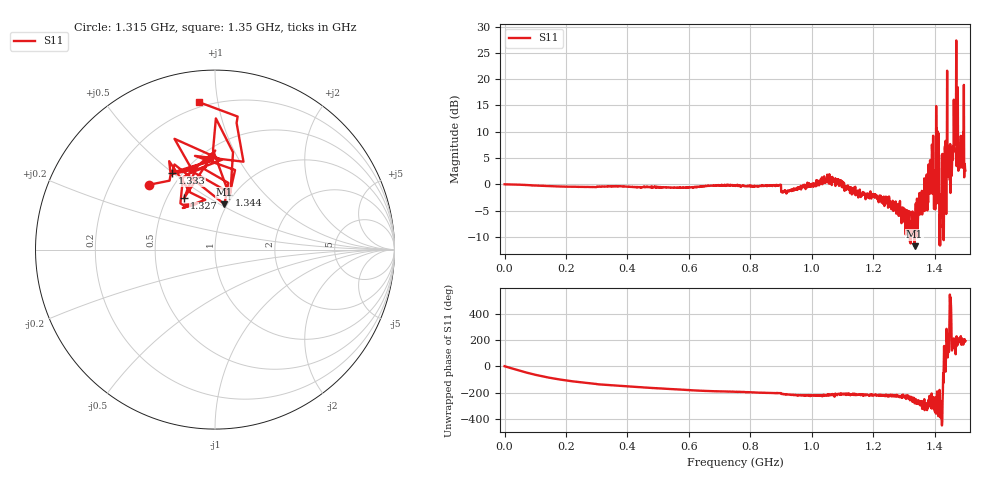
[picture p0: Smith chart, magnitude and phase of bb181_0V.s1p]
# Hz S RI R 50
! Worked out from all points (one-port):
!   1515 points, 50 kHz to 1.5 GHz, reference 50 ohm
!   lowest |S11| = -11.8 dB at 1.335 GHz (marker M1), VSWR 1.70, Z = 48.6 + j26.3 ohm
!   |S11| at or under -10 dB: 1.319138 GHz to 1.323273 GHz (4.135 MHz wide, 0.313 % of centre); 1.334266 GHz to 1.335071 GHz (805.3 kHz wide, 0.0603 % of centre); 1.428483 GHz to 1.429725 GHz (1.242 MHz wide, 0.0869 % of centre) (the widest 3 of 6)
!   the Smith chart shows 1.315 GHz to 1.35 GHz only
!   S11 on the Smith chart (normalised r, x): 1.315 GHz: 0.37, +0.36; 1.327 GHz: 0.61, +0.39; 1.333 GHz: 0.44, +0.50; 1.344 GHz: 0.96, +0.65; 1.35 GHz: 0.17, +0.88
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50000  1.001 -3.63e-05
1.882866e8  -0.231 -0.9226
3.755325e8  -0.8252 -0.4893
5.627784e8  -0.9266 -0.0601
7.500243e8  -0.9423 0.2442
9.382609e8  -0.6927 0.5297
1.125507e9  -0.6579 0.5696
1.312753e9  -0.2656 0.2552
1.314734e9  -0.3665 0.3614
1.326623e9  -0.1724 0.2866
1.332567e9  -0.2393 0.4281
1.334548e9  0.0528 0.2528
1.344456e9  0.0801 0.3032
1.3504e9  -0.0909 0.8221
1.401917e9  -0.3229 0.4794
1.417769e9  -0.0532 0.2567
1.431639e9  0.5224 0.159
1.43362e9  1.263 1.937
1.444518e9  -2.318 -0.1061
1.448481e9  0.911 0.9602
1.454425e9  1.37 -0.9886
1.461361e9  -1.785 -0.9647
1.463342e9  -2.298 2.215
1.468296e9  -0.0306 2.437
1.477212e9  -1.347 0.0151
1.478203e9  -1.64 -1.032
1.483156e9  -1.808 -0.6128
1.499999e9  -1.322 -0.2863
